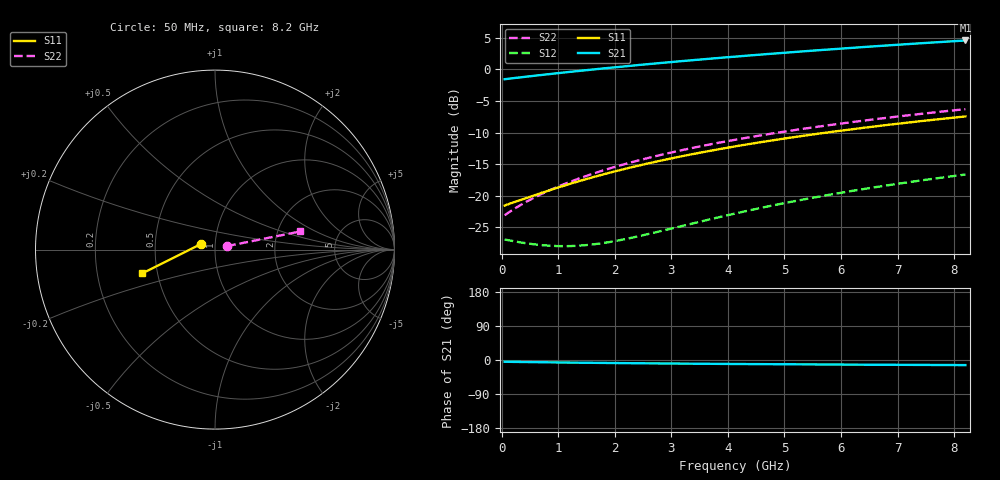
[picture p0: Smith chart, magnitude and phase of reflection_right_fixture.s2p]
# Hz S RI R 50
! Hz S11_real S11_imag S21_real S21_imag S12_real S12_imag S22_real S22_imag
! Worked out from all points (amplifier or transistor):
!   164 points, 50 MHz to 8.2 GHz, reference 50 ohm
!   highest |S21| = 4.6 dB at 8.2 GHz (marker M1)
!   |S21| within 3 dB of that: 3.529 GHz to end of sweep
!   unconditionally stable (mu >= 1): start of sweep to end of sweep
!   at 1.4 GHz: K = 12.22, MAG = 0.0 dB, |S12| = -27.9 dB
!   at 4.15 GHz: K = 4.80, MAG = 2.6 dB, |S12| = -22.7 dB
!   at 8.2 GHz: K = 1.55, MAG = 6.2 dB, |S12| = -16.6 dB
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5e7  -0.078 0.031  0.835 -0.068  0.04 -0.021  0.0675 0.0195
2e8  -0.084 0.028  0.85 -0.074  0.04 -0.018  0.075 0.021
3.5e8  -0.09 0.025  0.865 -0.08  0.04 -0.015  0.0825 0.0225
5e8  -0.096 0.022  0.88 -0.086  0.04 -0.012  0.09 0.024
6.5e8  -0.102 0.019  0.895 -0.092  0.04 -0.009  0.0975 0.0255
8.5e8  -0.11 0.015  0.915 -0.1  0.04 -0.005  0.1075 0.0275
1.05e9  -0.118 0.011  0.935 -0.108  0.04 -0.001  0.1175 0.0295
1.25e9  -0.126 0.007  0.955 -0.116  0.04 0.003  0.1275 0.0315
1.45e9  -0.134 0.003  0.975 -0.124  0.04 0.007  0.1375 0.0335
1.7e9  -0.144 -0.002  1 -0.134  0.04 0.012  0.15 0.036
2e9  -0.156 -0.008  1.03 -0.146  0.04 0.018  0.165 0.039
2.35e9  -0.17 -0.015  1.065 -0.16  0.04 0.025  0.1825 0.0425
2.8e9  -0.188 -0.024  1.11 -0.178  0.04 0.034  0.205 0.047
3.1e9  -0.2 -0.03  1.14 -0.19  0.04 0.04  0.22 0.05
3.45e9  -0.214 -0.037  1.175 -0.204  0.04 0.047  0.2375 0.0535
4.15e9  -0.242 -0.051  1.245 -0.232  0.04 0.061  0.2725 0.0605
4.8e9  -0.268 -0.064  1.31 -0.258  0.04 0.074  0.305 0.067
5.5e9  -0.296 -0.078  1.38 -0.286  0.04 0.088  0.34 0.074
6.15e9  -0.322 -0.091  1.445 -0.312  0.04 0.101  0.3725 0.0805
6.85e9  -0.35 -0.105  1.515 -0.34  0.04 0.115  0.4075 0.0875
7.5e9  -0.376 -0.118  1.58 -0.366  0.04 0.128  0.44 0.094
8.2e9  -0.404 -0.132  1.65 -0.394  0.04 0.142  0.475 0.101
